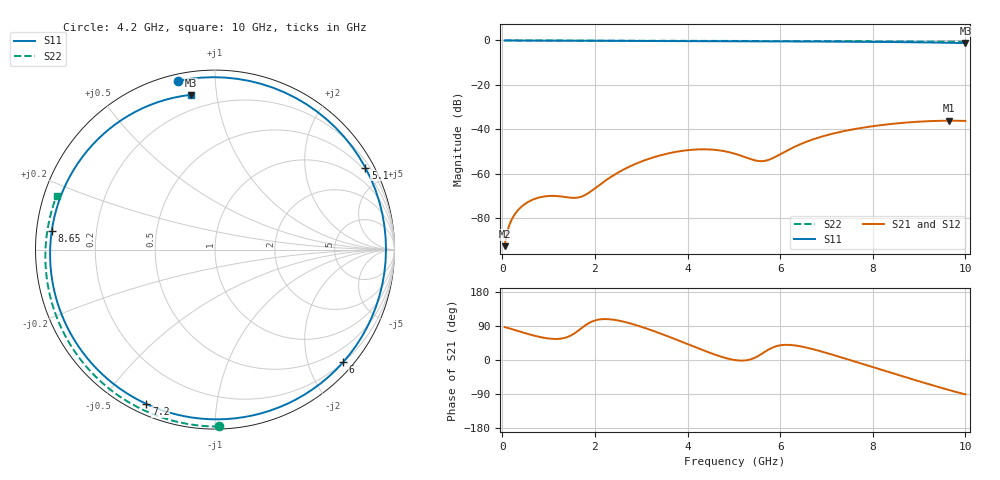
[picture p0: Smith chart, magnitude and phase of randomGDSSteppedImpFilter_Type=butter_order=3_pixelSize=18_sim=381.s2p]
! freq	dB(S11)	phase(S11)	dB(S12)	phase(S12)
!  dB(S21)	phase(S21)	dB(S22)	phase(S22)
!S-par simulation data
#  GHz  S  DB  R 50
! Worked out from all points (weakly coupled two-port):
!   200 points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, 50 MHz to 10 GHz, reference 50 ohm
!   highest |S21| = -36.10 dB at 9.65 GHz (marker M1); lowest = -92.5 dB at 50 MHz (marker M2)
!   lowest |S11| = -1.2 dB at 10 GHz (marker M3), VSWR 14.71, Z = 5.87 + j42.4 ohm
!   |S11| at or under -10 dB: nowhere
!   |S22| runs from -0.6 to 0.0 dB; largest |S21 - S12| = 0
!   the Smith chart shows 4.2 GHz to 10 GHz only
!   S11 on the Smith chart (normalised r, x): 4.2 GHz: 0.03, +0.80; 5.1 GHz: 0.38, +3.89; 6 GHz: 0.20, -2.64; 7.2 GHz: 0.04, -0.65; 8.65 GHz: 0.04, +0.06; 10 GHz: 0.12, +0.85
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0.05  -0.01 -3.1  -92.55 86.9  -92.55 86.9  -0.00 -1.1
0.2  -0.02 -12.0  -80.69 81.7  -80.69 81.7  -0.01 -4.5
0.45  -0.03 -26.9  -74.17 72.3  -74.17 72.3  -0.01 -10.1
0.95  -0.07 -56.3  -70.07 57.5  -70.07 57.5  -0.03 -21.2
1.75  -0.13 -102.1  -69.93 87.7  -69.93 87.7  -0.05 -38.7
2.65  -0.19 -153.5  -57.75 100.2  -57.75 100.2  -0.07 -57.7
3.4  -0.25 160.0  -51.76 70.6  -51.76 70.6  -0.10 -73.0
3.8  -0.29 132.4  -49.94 51.8  -49.94 51.8  -0.11 -80.9
4.2  -0.33 102.4  -49.04 32.4  -49.04 32.4  -0.12 -88.7
4.6  -0.37 70.3  -49.24 13.9  -49.24 13.9  -0.14 -96.4
5.05  -0.40 32.7  -51.13 -0.6  -51.13 -0.6  -0.16 -104.9
5.1  -0.41 28.6  -51.46 -1.2  -51.46 -1.2  -0.16 -105.8
5.5  -0.42 -3.9  -54.14 8.9  -54.14 8.9  -0.18 -113.2
6  -0.44 -41.3  -51.21 38.7  -51.21 38.7  -0.21 -122.4
6.7  -0.48 -86.2  -44.57 28.8  -44.57 28.8  -0.26 -135.1
7.2  -0.53 -114.0  -41.61 11.4  -41.61 11.4  -0.30 -144.2
7.8  -0.61 -144.6  -39.19 -11.2  -39.19 -11.2  -0.36 -155.2
8.35  -0.70 -171.7  -37.68 -32.0  -37.68 -32.0  -0.41 -165.6
8.65  -0.77 173.4  -37.07 -43.2  -37.07 -43.2  -0.45 -171.3
9.15  -0.89 147.6  -36.37 -61.7  -36.37 -61.7  -0.50 178.9
9.65  -1.05 119.8  -36.10 -79.4  -36.10 -79.4  -0.57 168.7
10  -1.18 98.9  -36.22 -90.8  -36.22 -90.8  -0.61 161.2
